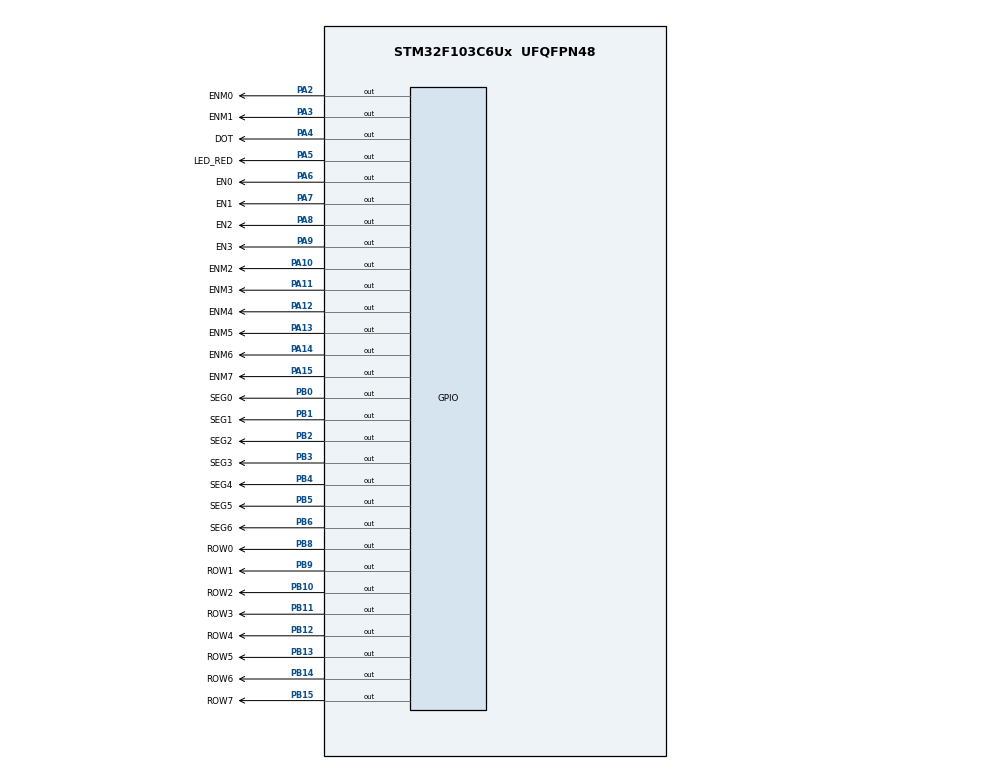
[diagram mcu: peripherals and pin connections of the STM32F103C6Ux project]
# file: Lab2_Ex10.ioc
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Mcu.Family=STM32F1
Mcu.Name=STM32F103C6Ux
Mcu.Package=UFQFPN48
NVIC.PriorityGroup=NVIC_PRIORITYGROUP_4
NVIC.TIM2_IRQn=true\:0\:0\:false\:false\:true\:false\:true
PA10.GPIO_Label=ENM2
PA10.PinState=GPIO_PIN_SET
PA10.Signal=GPIO_Output
PA11.GPIO_Label=ENM3
PA11.PinState=GPIO_PIN_SET
PA11.Signal=GPIO_Output
PA12.GPIO_Label=ENM4
PA12.PinState=GPIO_PIN_SET
PA12.Signal=GPIO_Output
PA13.GPIO_Label=ENM5
PA13.PinState=GPIO_PIN_SET
PA13.Signal=GPIO_Output
PA14.GPIO_Label=ENM6
PA14.PinState=GPIO_PIN_SET
PA14.Signal=GPIO_Output
PA15.GPIO_Label=ENM7
PA15.PinState=GPIO_PIN_SET
PA15.Signal=GPIO_Output
PA2.GPIO_Label=ENM0
PA2.PinState=GPIO_PIN_SET
PA2.Signal=GPIO_Output
PA3.GPIO_Label=ENM1
PA3.PinState=GPIO_PIN_SET
PA3.Signal=GPIO_Output
PA4.GPIO_Label=DOT
PA4.PinState=GPIO_PIN_SET
PA4.Signal=GPIO_Output
PA5.GPIO_Label=LED_RED
PA5.PinState=GPIO_PIN_SET
PA5.Signal=GPIO_Output
PA6.GPIO_Label=EN0
PA6.PinState=GPIO_PIN_SET
PA6.Signal=GPIO_Output
PA7.GPIO_Label=EN1
PA7.PinState=GPIO_PIN_SET
PA7.Signal=GPIO_Output
PA8.GPIO_Label=EN2
PA8.PinState=GPIO_PIN_SET
PA8.Signal=GPIO_Output
PA9.GPIO_Label=EN3
PA9.PinState=GPIO_PIN_SET
PA9.Signal=GPIO_Output
PB0.GPIO_Label=SEG0
PB0.PinState=GPIO_PIN_SET
PB0.Signal=GPIO_Output
PB1.GPIO_Label=SEG1
PB1.PinState=GPIO_PIN_SET
PB1.Signal=GPIO_Output
PB10.GPIO_Label=ROW2
PB10.PinState=GPIO_PIN_SET
PB10.Signal=GPIO_Output
PB11.GPIO_Label=ROW3
PB11.PinState=GPIO_PIN_SET
PB11.Signal=GPIO_Output
PB12.GPIO_Label=ROW4
PB12.PinState=GPIO_PIN_SET
PB12.Signal=GPIO_Output
PB13.GPIO_Label=ROW5
PB13.PinState=GPIO_PIN_SET
PB13.Signal=GPIO_Output
PB14.GPIO_Label=ROW6
PB14.PinState=GPIO_PIN_SET
PB14.Signal=GPIO_Output
PB15.GPIO_Label=ROW7
PB15.PinState=GPIO_PIN_SET
PB15.Signal=GPIO_Output
PB2.GPIO_Label=SEG2
PB2.PinState=GPIO_PIN_SET
PB2.Signal=GPIO_Output
PB3.GPIO_Label=SEG3
PB3.PinState=GPIO_PIN_SET
PB3.Signal=GPIO_Output
PB4.GPIO_Label=SEG4
PB4.PinState=GPIO_PIN_SET
PB4.Signal=GPIO_Output
PB5.GPIO_Label=SEG5
PB5.PinState=GPIO_PIN_SET
PB5.Signal=GPIO_Output
PB6.GPIO_Label=SEG6
PB6.PinState=GPIO_PIN_SET
PB6.Signal=GPIO_Output
PB8.GPIO_Label=ROW0
PB8.PinState=GPIO_PIN_SET
PB8.Signal=GPIO_Output
PB9.GPIO_Label=ROW1
PB9.PinState=GPIO_PIN_SET
PB9.Signal=GPIO_Output
ProjectManager.HeapSize=0x200
ProjectManager.StackSize=0x400
ProjectManager.TargetToolchain=STM32CubeIDE
RCC.APB1Freq_Value=8000000
RCC.APB2Freq_Value=8000000
TIM2.Period=9
TIM2.Prescaler=7999
VP_SYS_VS_ND.Mode=No_Debug
VP_TIM2_VS_ClockSourceINT.Mode=Internal
board=custom

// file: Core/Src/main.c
/* USER CODE BEGIN Header */
/**
  ******************************************************************************
  * @file           : main.c
  * @brief          : Main program body
  *                   Lab 2 - Exercise 10 - Hieu ung dich chu A sang trai tren LED matrix
  ******************************************************************************
  * @attention
  *
  * <h2><center>&copy; Copyright (c) 2026 STMicroelectronics.
  * All rights reserved.</center></h2>
  *
  * This software component is licensed by ST under BSD 3-Clause license,
  * the "License"; You may not use this file except in compliance with the
  * License. You may obtain a copy of the License at:
  *                        opensource.org/licenses/BSD-3-Clause
  *
  ******************************************************************************
  */
/* USER CODE END Header */
#include "main.h"

/* USER CODE BEGIN PD */
/* LED 7 doan common anode -> doan sang khi xuat muc 0 */
#define SEG_ON            GPIO_PIN_RESET
#define SEG_OFF           GPIO_PIN_SET

/* PNP: xuat muc 0 -> transistor dan -> LED 7 doan duoc cap nguon */
#define EN_ON             GPIO_PIN_RESET
#define EN_OFF            GPIO_PIN_SET
/* ULN2803 la mang transistor NPN: chan vao muc 1 -> cot duoc chon */
#define MAX_LED_MATRIX    8
#define MATRIX_COL_ON     GPIO_PIN_SET
#define MATRIX_COL_OFF    GPIO_PIN_RESET
#define MATRIX_ROW_ON     GPIO_PIN_SET
#define MATRIX_ROW_OFF    GPIO_PIN_RESET

#define MAX_LED           4
#define CLOCK_TICK_MS     1000
#define SWITCH_TIME_MS    (1000 / MAX_LED)         /* 250 ms */
#define MATRIX_SCAN_MS    10                       /* quet matrix   */
#define SHIFT_TIME_MS     200                      /* toc do chay chu */
/* USER CODE END PD */

TIM_HandleTypeDef htim2;

void SystemClock_Config(void);
static void MX_GPIO_Init(void);
static void MX_TIM2_Init(void);

/* USER CODE BEGIN 0 */
int index_led = 0;
int led_buffer[MAX_LED] = {0, 0, 0, 0};
int dot_state = 0;

/* --- Dong ho: gio / phut / giay --- */
int hour = 15, minute = 8, second = 50;

/* ====================== SOFTWARE TIMER ======================
   Moi lan ngat TIM2 (10 ms) thi timer_run() dem lui 1 nhip.
   Dem ve 0 thi dung co timerX_flag cho main() biet "da den han". */
#define TIMER_CYCLE   10          /* chu ky ngat TIM2, don vi ms */

int timer0_counter = 0;
int timer0_flag    = 0;

void setTimer0(int duration)
{
  timer0_counter = duration / TIMER_CYCLE;   /* doi ms -> so nhip ngat */
  timer0_flag    = 0;
}

int timer1_counter = 0;
int timer1_flag    = 0;

void setTimer1(int duration)
{
  timer1_counter = duration / TIMER_CYCLE;   /* doi ms -> so nhip ngat */
  timer1_flag    = 0;
}

int timer2_counter = 0;
int timer2_flag    = 0;

void setTimer2(int duration)
{
  timer2_counter = duration / TIMER_CYCLE;   /* doi ms -> so nhip ngat */
  timer2_flag    = 0;
}

int timer3_counter = 0;
int timer3_flag    = 0;

void setTimer3(int duration)
{
  timer3_counter = duration / TIMER_CYCLE;   /* doi ms -> so nhip ngat */
  timer3_flag    = 0;
}

void timer_run(void)
{
  if (timer0_counter > 0) {
    timer0_counter--;
    if (timer0_counter == 0) timer0_flag = 1;
  }
  if (timer1_counter > 0) {
    timer1_counter--;
    if (timer1_counter == 0) timer1_flag = 1;
  }
  if (timer2_counter > 0) {
    timer2_counter--;
    if (timer2_counter == 0) timer2_flag = 1;
  }
  if (timer3_counter > 0) {
    timer3_counter--;
    if (timer3_counter == 0) timer3_flag = 1;
  }
}

/* Bang ma 7 doan, bit0..bit6 = doan a..g (kieu gfedcba).
   LED common anode: doan SANG khi chan tin hieu o muc 0. */
const uint8_t SEG_CODE[10] = {
  0x3F, 0x06, 0x5B, 0x4F, 0x66, 0x6D, 0x7D, 0x07, 0x7F, 0x6F
};

void display7SEG(int num)
{
  if (num < 0 || num > 9) return;                 /* chong tran bang    */
  for (int i = 0; i < 7; i++) {                   /* SEG0..SEG6 = PB0..PB6 */
    HAL_GPIO_WritePin(SEG0_GPIO_Port, (uint16_t)(SEG0_Pin << i),
                      ((SEG_CODE[num] >> i) & 1) ? SEG_ON : SEG_OFF);
  }
}

void update7SEG(int index)
{
  /* B1: TAT het 4 LED truoc. Neu bo buoc nay, du lieu cua LED cu con
         nam tren bus SEG trong luc LED moi da sang -> bong mo (ghosting). */
  HAL_GPIO_WritePin(EN0_GPIO_Port, EN0_Pin | EN1_Pin | EN2_Pin | EN3_Pin, EN_OFF);

  /* B2: dat du lieu  ->  B3: bat DUNG 1 LED */
  switch (index) {
    case 0:  display7SEG(led_buffer[0]);
             HAL_GPIO_WritePin(EN0_GPIO_Port, EN0_Pin, EN_ON);  break;
    case 1:  display7SEG(led_buffer[1]);
             HAL_GPIO_WritePin(EN1_GPIO_Port, EN1_Pin, EN_ON);  break;
    case 2:  display7SEG(led_buffer[2]);
             HAL_GPIO_WritePin(EN2_GPIO_Port, EN2_Pin, EN_ON);  break;
    case 3:  display7SEG(led_buffer[3]);
             HAL_GPIO_WritePin(EN3_GPIO_Port, EN3_Pin, EN_ON);  break;
    default: break;
  }
}

/* Doi gio:phut thanh 4 chu so cho 4 LED 7 doan.
   So 1 chu so tu dong co so 0 o truoc, vi du 8 gio -> "08". */
void updateClockBuffer(void)
{
  led_buffer[0] = hour   / 10;
  led_buffer[1] = hour   % 10;
  led_buffer[2] = minute / 10;
  led_buffer[3] = minute % 10;
}

/* ===================== LED MATRIX 8x8 =====================
   ENM0..ENM7 qua ULN2803 chon 1 COT   (tich cuc muc 1)
   ROW0..ROW7 = PB8..PB15 la 8 duong du lieu (muc 1 thi diem sang) */
int index_led_matrix = 0;

/* Chu 'A': moi phan tu la MOT COT, bit i cua byte = ROW i (bit0 = ROW0).
          c0 c1 c2 c3 c4 c5 c6 c7
   ROW0    .  .  .  #  .  .  .  .
   ROW1    .  .  #  .  #  .  .  .
   ROW2    .  #  .  .  .  #  .  .
   ROW3    .  #  .  .  .  #  .  .
   ROW4    .  #  #  #  #  #  .  .      <- net ngang
   ROW5    .  #  .  .  .  #  .  .
   ROW6    .  #  .  .  .  #  .  .
   ROW7    .  .  .  .  .  .  .  .
   Net chu day 1 diem va chi chiem 5 cot (c1..c5) cho thanh manh. */
uint8_t matrix_buffer[MAX_LED_MATRIX] = {
  0x00, 0x7C, 0x12, 0x11, 0x12, 0x7C, 0x00, 0x00
};

void updateLEDMatrix(int index)
{
  uint8_t data = matrix_buffer[index];

  /* B1: tat TAT CA cot (neu khong se bi keo vet ngang) */
  HAL_GPIO_WritePin(ENM0_GPIO_Port,
                    ENM0_Pin | ENM1_Pin | ENM2_Pin | ENM3_Pin |
                    ENM4_Pin | ENM5_Pin | ENM6_Pin | ENM7_Pin, MATRIX_COL_OFF);

  /* B2: dat du lieu 8 hang ROW0..ROW7 */
  for (int r = 0; r < 8; r++) {
    HAL_GPIO_WritePin(ROW0_GPIO_Port, (uint16_t)(ROW0_Pin << r),
                      ((data >> r) & 1) ? MATRIX_ROW_ON : MATRIX_ROW_OFF);
  }

  /* B3: bat DUNG 1 cot */
  switch (index) {
    case 0: HAL_GPIO_WritePin(ENM0_GPIO_Port, ENM0_Pin, MATRIX_COL_ON); break;
    case 1: HAL_GPIO_WritePin(ENM1_GPIO_Port, ENM1_Pin, MATRIX_COL_ON); break;
    case 2: HAL_GPIO_WritePin(ENM2_GPIO_Port, ENM2_Pin, MATRIX_COL_ON); break;
    case 3: HAL_GPIO_WritePin(ENM3_GPIO_Port, ENM3_Pin, MATRIX_COL_ON); break;
    case 4: HAL_GPIO_WritePin(ENM4_GPIO_Port, ENM4_Pin, MATRIX_COL_ON); break;
    case 5: HAL_GPIO_WritePin(ENM5_GPIO_Port, ENM5_Pin, MATRIX_COL_ON); break;
    case 6: HAL_GPIO_WritePin(ENM6_GPIO_Port, ENM6_Pin, MATRIX_COL_ON); break;
    case 7: HAL_GPIO_WritePin(ENM7_GPIO_Port, ENM7_Pin, MATRIX_COL_ON); break;
    default: break;
  }
}

/* Dich chu sang TRAI 1 cot: cot i lay du lieu cua cot i+1,
   cot dau cu quay ve lam cot cuoi -> chu chay vong khong bao gio het. */
void shiftLEDMatrixLeft(void)
{
  uint8_t first = matrix_buffer[0];
  for (int i = 0; i < MAX_LED_MATRIX - 1; i++) {
    matrix_buffer[i] = matrix_buffer[i + 1];
  }
  matrix_buffer[MAX_LED_MATRIX - 1] = first;
}
/* USER CODE END 0 */

int main(void)
{

  /* MCU Configuration--------------------------------------------------------*/

  /* Reset of all peripherals, Initializes the Flash interface and the Systick. */
  HAL_Init();

  /* Configure the system clock */
  SystemClock_Config();

  /* Initialize all configured peripherals */
  MX_GPIO_Init();
  MX_TIM2_Init();
  /* USER CODE BEGIN 2 */
  updateClockBuffer();
  HAL_TIM_Base_Start_IT(&htim2);

  setTimer0(CLOCK_TICK_MS);        /* dong ho + DOT        */
  setTimer1(SWITCH_TIME_MS);       /* quet LED 7 doan      */
  setTimer2(MATRIX_SCAN_MS);       /* quet LED matrix      */
  setTimer3(SHIFT_TIME_MS);        /* dich chu sang trai   */
  /* USER CODE END 2 */

  /* Infinite loop */
  /* USER CODE BEGIN WHILE */
  while (1)
  {
    /* ----- Timer 0: dong ho va DOT ----- */
    if (timer0_flag == 1) {
      setTimer0(CLOCK_TICK_MS);

        second++;
        if (second >= 60) { second = 0; minute++; }
        if (minute >= 60) { minute = 0; hour++;   }
        if (hour   >= 24) { hour   = 0;           }
        updateClockBuffer();

        dot_state = !dot_state;
        HAL_GPIO_WritePin(DOT_GPIO_Port, DOT_Pin,
                          dot_state ? GPIO_PIN_SET : GPIO_PIN_RESET);
    }

    /* ----- Timer 1: quet 4 LED 7 doan ----- */
    if (timer1_flag == 1) {
      setTimer1(SWITCH_TIME_MS);
      update7SEG(index_led++);
      if (index_led >= MAX_LED) index_led = 0;
    }

    /* ----- Timer 2: quet 8 cot LED matrix ----- */
    if (timer2_flag == 1) {
      setTimer2(MATRIX_SCAN_MS);
      updateLEDMatrix(index_led_matrix++);
      if (index_led_matrix >= MAX_LED_MATRIX) index_led_matrix = 0;
    }

    /* ----- Timer 3: cu 200 ms dich chu sang trai 1 cot ----- */
    if (timer3_flag == 1) {
      setTimer3(SHIFT_TIME_MS);
      shiftLEDMatrixLeft();
    }
    /* USER CODE END WHILE */

  }
}

void SystemClock_Config(void)
{
  RCC_OscInitTypeDef RCC_OscInitStruct = {0};
  RCC_ClkInitTypeDef RCC_ClkInitStruct = {0};

  /** Initializes the RCC Oscillators according to the specified parameters
  * in the RCC_OscInitTypeDef structure.
  */
  RCC_OscInitStruct.OscillatorType = RCC_OSCILLATORTYPE_HSI;
  RCC_OscInitStruct.HSIState = RCC_HSI_ON;
  RCC_OscInitStruct.HSICalibrationValue = RCC_HSICALIBRATION_DEFAULT;
  RCC_OscInitStruct.PLL.PLLState = RCC_PLL_NONE;
  if (HAL_RCC_OscConfig(&RCC_OscInitStruct) != HAL_OK)
  {
    Error_Handler();
  }
  /** Initializes the CPU, AHB and APB buses clocks
  */
  RCC_ClkInitStruct.ClockType = RCC_CLOCKTYPE_HCLK|RCC_CLOCKTYPE_SYSCLK
                              |RCC_CLOCKTYPE_PCLK1|RCC_CLOCKTYPE_PCLK2;
  RCC_ClkInitStruct.SYSCLKSource = RCC_SYSCLKSOURCE_HSI;
  RCC_ClkInitStruct.AHBCLKDivider = RCC_SYSCLK_DIV1;
  RCC_ClkInitStruct.APB1CLKDivider = RCC_HCLK_DIV1;
  RCC_ClkInitStruct.APB2CLKDivider = RCC_HCLK_DIV1;

  if (HAL_RCC_ClockConfig(&RCC_ClkInitStruct, FLASH_LATENCY_0) != HAL_OK)
  {
    Error_Handler();
  }
}

static void MX_GPIO_Init(void)
{
  GPIO_InitTypeDef GPIO_InitStruct = {0};

  /* GPIO Ports Clock Enable */
  __HAL_RCC_GPIOA_CLK_ENABLE();
  __HAL_RCC_GPIOB_CLK_ENABLE();

  /*Configure GPIO pin Output Level */
  HAL_GPIO_WritePin(GPIOA, ENM0_Pin|ENM1_Pin|DOT_Pin
                          |LED_RED_Pin|EN0_Pin|EN1_Pin
                          |EN2_Pin|EN3_Pin|ENM2_Pin
                          |ENM3_Pin|ENM4_Pin|ENM5_Pin
                          |ENM6_Pin|ENM7_Pin, GPIO_PIN_SET);

  /*Configure GPIO pin Output Level */
  HAL_GPIO_WritePin(GPIOB, SEG0_Pin|SEG1_Pin|SEG2_Pin
                          |SEG3_Pin|SEG4_Pin|SEG5_Pin
                          |SEG6_Pin|ROW0_Pin|ROW1_Pin
                          |ROW2_Pin|ROW3_Pin|ROW4_Pin
                          |ROW5_Pin|ROW6_Pin|ROW7_Pin, GPIO_PIN_SET);

  /*Configure GPIO pins : ENM0_Pin ENM1_Pin DOT_Pin LED_RED_Pin EN0_Pin EN1_Pin EN2_Pin EN3_Pin ENM2_Pin ENM3_Pin ENM4_Pin ENM5_Pin ENM6_Pin ENM7_Pin */
  GPIO_InitStruct.Pin = ENM0_Pin|ENM1_Pin|DOT_Pin
                          |LED_RED_Pin|EN0_Pin|EN1_Pin
                          |EN2_Pin|EN3_Pin|ENM2_Pin
                          |ENM3_Pin|ENM4_Pin|ENM5_Pin
                          |ENM6_Pin|ENM7_Pin;
  GPIO_InitStruct.Mode = GPIO_MODE_OUTPUT_PP;
  GPIO_InitStruct.Pull = GPIO_NOPULL;
  GPIO_InitStruct.Speed = GPIO_SPEED_FREQ_LOW;
  HAL_GPIO_Init(GPIOA, &GPIO_InitStruct);

  /*Configure GPIO pins : SEG0_Pin SEG1_Pin SEG2_Pin SEG3_Pin SEG4_Pin SEG5_Pin SEG6_Pin ROW0_Pin ROW1_Pin ROW2_Pin ROW3_Pin ROW4_Pin ROW5_Pin ROW6_Pin ROW7_Pin */
  GPIO_InitStruct.Pin = SEG0_Pin|SEG1_Pin|SEG2_Pin
                          |SEG3_Pin|SEG4_Pin|SEG5_Pin
                          |SEG6_Pin|ROW0_Pin|ROW1_Pin
                          |ROW2_Pin|ROW3_Pin|ROW4_Pin
                          |ROW5_Pin|ROW6_Pin|ROW7_Pin;
  GPIO_InitStruct.Mode = GPIO_MODE_OUTPUT_PP;
  GPIO_InitStruct.Pull = GPIO_NOPULL;
  GPIO_InitStruct.Speed = GPIO_SPEED_FREQ_LOW;
  HAL_GPIO_Init(GPIOB, &GPIO_InitStruct);

}
static void MX_TIM2_Init(void)
{

  TIM_ClockConfigTypeDef sClockSourceConfig = {0};
  TIM_MasterConfigTypeDef sMasterConfig = {0};

  htim2.Instance = TIM2;
  htim2.Init.Prescaler = 7999;
  htim2.Init.CounterMode = TIM_COUNTERMODE_UP;
  htim2.Init.Period = 9;
  htim2.Init.ClockDivision = TIM_CLOCKDIVISION_DIV1;
  htim2.Init.AutoReloadPreload = TIM_AUTORELOAD_PRELOAD_DISABLE;
  if (HAL_TIM_Base_Init(&htim2) != HAL_OK)
  {
    Error_Handler();
  }
  sClockSourceConfig.ClockSource = TIM_CLOCKSOURCE_INTERNAL;
  if (HAL_TIM_ConfigClockSource(&htim2, &sClockSourceConfig) != HAL_OK)
  {
    Error_Handler();
  }
  sMasterConfig.MasterOutputTrigger = TIM_TRGO_RESET;
  sMasterConfig.MasterSlaveMode = TIM_MASTERSLAVEMODE_DISABLE;
  if (HAL_TIMEx_MasterConfigSynchronization(&htim2, &sMasterConfig) != HAL_OK)
  {
    Error_Handler();
  }

}

/* USER CODE BEGIN 4 */
void HAL_TIM_PeriodElapsedCallback(TIM_HandleTypeDef *htim)
{
  if (htim->Instance == TIM2) {
    timer_run();
  }
}
/* USER CODE END 4 */

void Error_Handler(void)
{
  __disable_irq();
  while (1)
  {
  }
}

/************************ (C) COPYRIGHT STMicroelectronics *****END OF FILE****/
